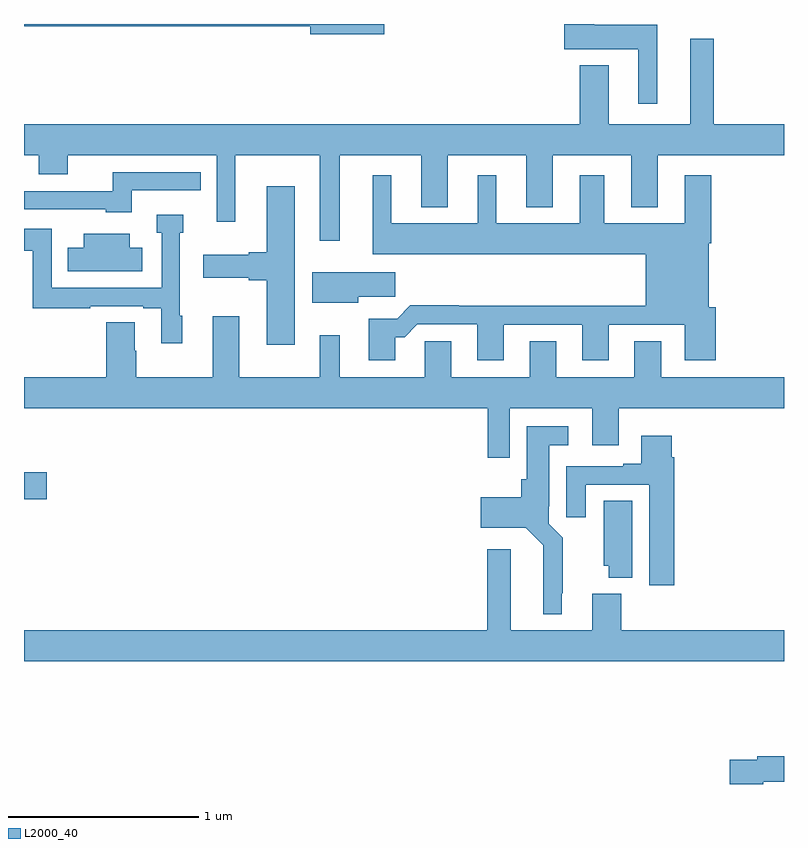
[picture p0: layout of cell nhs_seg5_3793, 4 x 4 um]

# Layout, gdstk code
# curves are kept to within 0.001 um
import gdstk
lib = gdstk.Library(unit=1e-6, precision=1e-09)
def R(c, l, rs):  # rectangles x0, y0, x1, y1
    for r in rs: c.add(gdstk.rectangle(r[:2], r[2:], *l))
def P(c, l, *ps):  # polygons
    for p in ps: c.add(gdstk.Polygon(p, *l))
L2000_40 = (2000, 40)

nhs_seg5_3793 = lib.new_cell('nhs_seg5_3793')
R(nhs_seg5_3793, L2000_40, [(335,840.299,335.119,840.441)])
P(nhs_seg5_3793, L2000_40, [(336.895,842.799),(335,842.799),(335,842.788),(336.506,842.788),(336.506,842.746),(336.895,842.746)],
  [(338.332,842.794),(338.002,842.794),(338.002,842.799),(337.844,842.799),(337.844,842.666),(338.234,842.666),(338.234,842.379),(338.332,842.379)],
  [(338.195,841.835),(338.335,841.835),(338.335,842.108),(339,842.108),(339,842.272),(338.629,842.272),(338.629,842.722),(338.507,842.722),(338.507,842.272),(338.077,842.272),(338.077,842.581),(337.925,842.581),(337.925,842.272),(335,842.272),(335,842.108),(335.078,842.108),(335.078,842.009),(335.23,842.009),(335.23,842.108),(336.015,842.108),(336.015,841.758),(336.112,841.758),(336.112,842.108),(336.557,842.108),(336.557,841.659),(336.661,841.659),(336.661,842.108),(337.091,842.108),(337.091,841.835),(337.231,841.835),(337.231,842.108),(337.643,842.108),(337.643,841.835),(337.783,841.835),(337.783,842.108),(338.195,842.108)],
  [(335.566,841.923),(335.93,841.923),(335.93,842.019),(335.467,842.019),(335.467,841.92),(335,841.92),(335,841.824),(335.43,841.824),(335.43,841.808),(335.566,841.808)],
  [(336.955,841.151),(337.004,841.151),(337.071,841.218),(337.385,841.218),(337.385,841.029),(337.525,841.029),(337.525,841.215),(337.937,841.215),(337.937,841.029),(338.077,841.029),(338.077,841.215),(338.477,841.215),(338.477,841.029),(338.642,841.029),(338.642,841.308),(338.605,841.308),(338.605,841.646),(338.618,841.646),(338.618,842.002),(338.477,842.002),(338.477,841.75),(338.053,841.75),(338.053,842.002),(337.925,842.002),(337.925,841.75),(337.486,841.75),(337.486,842.002),(337.388,842.002),(337.388,841.75),(336.934,841.75),(336.934,842.002),(336.836,842.002),(336.836,841.586),(338.273,841.586),(338.273,841.316),(337.289,841.316),(337.289,841.319),(337.034,841.319),(336.964,841.249),(336.815,841.249),(336.815,841.029),(336.955,841.029)],
  [(336.424,841.945),(336.278,841.945),(336.278,841.598),(336.182,841.598),(336.182,841.585),(335.943,841.585),(335.943,841.463),(336.182,841.463),(336.182,841.451),(336.278,841.451),(336.278,841.11),(336.424,841.11)],
  [(335.833,841.263),(335.82,841.263),(335.82,841.701),(335.839,841.701),(335.839,841.795),(335.699,841.795),(335.699,841.701),(335.724,841.701),(335.724,841.41),(335.145,841.41),(335.145,841.722),(335,841.722),(335,841.606),(335.047,841.606),(335.047,841.302),(335.348,841.302),(335.348,841.314),(335.627,841.314),(335.627,841.302),(335.723,841.302),(335.723,841.119),(335.833,841.119)],
  [(335.623,841.621),(335.557,841.621),(335.557,841.696),(335.315,841.696),(335.315,841.621),(335.23,841.621),(335.23,841.499),(335.623,841.499)],
  [(336.76,841.363),(336.955,841.363),(336.955,841.492),(336.516,841.492),(336.516,841.331),(336.76,841.331)],
  [(337.557,840.776),(337.991,840.776),(337.991,840.582),(338.131,840.582),(338.131,840.776),(339,840.776),(339,840.94),(338.353,840.94),(338.353,841.13),(338.213,841.13),(338.213,840.94),(337.801,840.94),(337.801,841.13),(337.661,841.13),(337.661,840.94),(337.249,840.94),(337.249,841.13),(337.11,841.13),(337.11,840.94),(336.661,840.94),(336.661,841.162),(336.557,841.162),(336.557,840.94),(336.133,840.94),(336.133,841.261),(335.993,841.261),(335.993,840.94),(335.592,840.94),(335.592,841.079),(335.584,841.079),(335.584,841.229),(335.432,841.229),(335.432,840.94),(335,840.94),(335,840.776),(337.441,840.776),(337.441,840.516),(337.557,840.516)],
  [(337.831,839.803),(337.835,839.803),(337.835,840.094),(337.761,840.168),(337.761,840.262),(337.765,840.262),(337.765,840.581),(337.864,840.581),(337.864,840.682),(337.646,840.682),(337.646,840.402),(337.616,840.402),(337.616,840.307),(337.404,840.307),(337.404,840.149),(337.641,840.149),(337.734,840.056),(337.733,839.693),(337.831,839.693)],
  [(338.423,840.518),(338.41,840.518),(338.41,840.631),(338.249,840.631),(338.249,840.484),(338.153,840.484),(338.153,840.471),(337.853,840.471),(337.853,840.204),(337.957,840.204),(337.957,840.375),(338.291,840.375),(338.291,839.844),(338.423,839.844)],
  [(338.2,840.29),(338.051,840.29),(338.051,839.949),(338.078,839.949),(338.078,839.885),(338.2,839.885)],
  [(339,839.608),(338.144,839.608),(338.144,839.8),(337.991,839.8),(337.991,839.608),(337.561,839.608),(337.561,840.034),(337.439,840.034),(337.439,839.608),(335,839.608),(335,839.444),(339,839.444)],
  [(338.892,838.81),(339,838.81),(339,838.946),(338.86,838.946),(338.86,838.926),(338.714,838.926),(338.714,838.799),(338.892,838.799)])

lib.write_gds('nhs_seg5_3793.gds')
